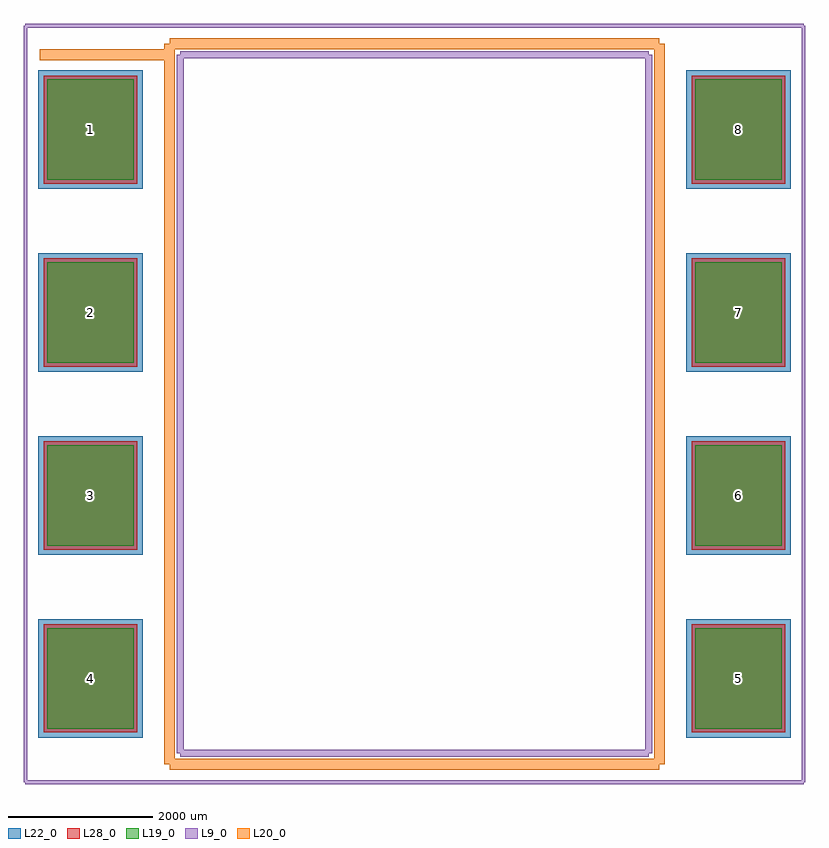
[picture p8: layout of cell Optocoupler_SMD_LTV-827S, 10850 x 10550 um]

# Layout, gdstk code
import gdstk
lib = gdstk.Library(unit=1e-6, precision=1e-09)
def R(c, l, rs):  # rectangles x0, y0, x1, y1
    for r in rs: c.add(gdstk.rectangle(r[:2], r[2:], *l))
def A(c, l, x, y, w, h, nx, ny, dx, dy):  # array of equal rectangles
    R(c, l, [(x+i*dx, y+j*dy, x+i*dx+w, y+j*dy+h) for i in range(nx) for j in range(ny)])
L9_0 = (9, 0)
L19_0 = (19, 0)
L20_0 = (20, 0)
L22_0 = (22, 0)
L28_0 = (28, 0)

optocoupler_smd_ltv_827s = lib.new_cell('Optocoupler_SMD_LTV-827S')
A(optocoupler_smd_ltv_827s, L19_0, -5100, -4510, 1200, 1400, 1, 4, 0, 2540)
A(optocoupler_smd_ltv_827s, L19_0, 3900, -4510, 1200, 1400, 1, 4, 0, 2540)
A(optocoupler_smd_ltv_827s, L22_0, -5225, -4635, 1450, 1650, 1, 4, 0, 2540)
A(optocoupler_smd_ltv_827s, L22_0, 3775, -4635, 1450, 1650, 1, 4, 0, 2540)
A(optocoupler_smd_ltv_827s, L28_0, -5150, -4560, 1300, 1500, 1, 4, 0, 2540)
A(optocoupler_smd_ltv_827s, L28_0, 3850, -4560, 1300, 1500, 1, 4, 0, 2540)
optocoupler_smd_ltv_827s.add(gdstk.FlexPath([(-3250,4850),(3250,4850)], 100, ends="flush", simple_path=True, layer=9, datatype=0))  # L9_0
optocoupler_smd_ltv_827s.add(gdstk.FlexPath([(3250,4850),(3250,-4850)], 100, ends="flush", simple_path=True, layer=9, datatype=0))  # L9_0
optocoupler_smd_ltv_827s.add(gdstk.FlexPath([(3250,-4850),(-3250,-4850)], 100, ends="flush", simple_path=True, layer=9, datatype=0))  # L9_0
optocoupler_smd_ltv_827s.add(gdstk.FlexPath([(-3250,-4850),(-3250,4850)], 100, ends="flush", simple_path=True, layer=9, datatype=0))  # L9_0
optocoupler_smd_ltv_827s.add(gdstk.FlexPath([(3400,5000),(-3400,5000)], 149.998, ends="flush", simple_path=True, layer=20, datatype=0))  # L20_0
optocoupler_smd_ltv_827s.add(gdstk.FlexPath([(3400,-5000),(-3400,-5000)], 149.998, ends="flush", simple_path=True, layer=20, datatype=0))  # L20_0
optocoupler_smd_ltv_827s.add(gdstk.FlexPath([(-3400,-5000),(-3400,5000)], 149.998, ends="flush", simple_path=True, layer=20, datatype=0))  # L20_0
optocoupler_smd_ltv_827s.add(gdstk.FlexPath([(3400,5000),(3400,-5000)], 149.998, ends="flush", simple_path=True, layer=20, datatype=0))  # L20_0
optocoupler_smd_ltv_827s.add(gdstk.FlexPath([(-5400,-5250),(5400,-5250)], 50, ends="flush", simple_path=True, layer=9, datatype=0))  # L9_0
optocoupler_smd_ltv_827s.add(gdstk.FlexPath([(5400,-5250),(5400,5250)], 50, ends="flush", simple_path=True, layer=9, datatype=0))  # L9_0
optocoupler_smd_ltv_827s.add(gdstk.FlexPath([(5400,5250),(-5400,5250)], 50, ends="flush", simple_path=True, layer=9, datatype=0))  # L9_0
optocoupler_smd_ltv_827s.add(gdstk.FlexPath([(-5400,5250),(-5400,-5250)], 50, ends="flush", simple_path=True, layer=9, datatype=0))  # L9_0
optocoupler_smd_ltv_827s.add(gdstk.FlexPath([(-3400,4850),(-5200,4850)], 149.998, ends="flush", simple_path=True, layer=20, datatype=0))  # L20_0
optocoupler_smd_ltv_827s.add(gdstk.Label('1', (-4500,3810), layer=28, texttype=0))
optocoupler_smd_ltv_827s.add(gdstk.Label('2', (-4500,1270), layer=28, texttype=0))
optocoupler_smd_ltv_827s.add(gdstk.Label('3', (-4500,-1270), layer=28, texttype=0))
optocoupler_smd_ltv_827s.add(gdstk.Label('4', (-4500,-3810), layer=28, texttype=0))
optocoupler_smd_ltv_827s.add(gdstk.Label('5', (4500,-3810), layer=28, texttype=0))
optocoupler_smd_ltv_827s.add(gdstk.Label('6', (4500,-1270), layer=28, texttype=0))
optocoupler_smd_ltv_827s.add(gdstk.Label('7', (4500,1270), layer=28, texttype=0))
optocoupler_smd_ltv_827s.add(gdstk.Label('8', (4500,3810), layer=28, texttype=0))
optocoupler_smd_ltv_827s.add(gdstk.Label('type', (0,-6400), layer=9, texttype=0))
optocoupler_smd_ltv_827s.add(gdstk.Label('devicename', (0,6000), layer=9, texttype=0))

lib.write_gds('Optocoupler_SMD_LTV-827S.gds')
